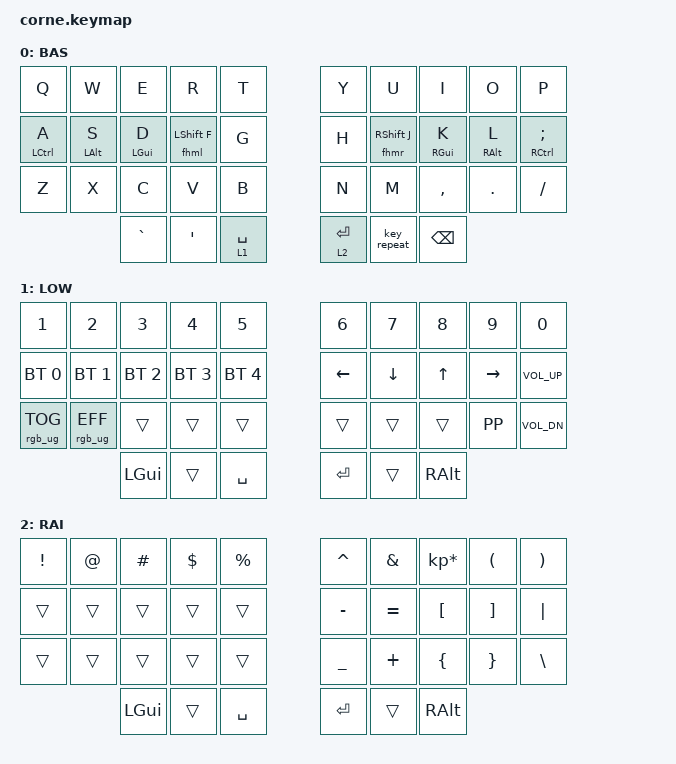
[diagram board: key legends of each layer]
/*
 * Copyright (c) 2020 The ZMK Contributors
 *
 * SPDX-License-Identifier: MIT
 */

#include <behaviors.dtsi>
#include <dt-bindings/zmk/keys.h>
#include <dt-bindings/zmk/bt.h>
#include <dt-bindings/zmk/outputs.h>
#include <dt-bindings/zmk/ext_power.h>
#include <dt-bindings/led/led.h>
#include <dt-bindings/zmk/backlight.h>
#include <dt-bindings/zmk/rgb.h>
#include <dt-bindings/zmk/reset.h>

#include "./corne-behaviors.dtsi"

#define BASE 0
#define LOW  1
#define RAI  2
#define EX_1 3
#define EX_2 4
#define EX_3 4

// (heavily) Parametrised macros for DRY combo definitions.
#define COMBO(NAME, KEY, LAYERS, POSITIONS, REQUIRE_PRIOR_IDLE, TIMEOUT) NAME { \
    bindings = <&kp KEY>; \
    layers = <LAYERS>; \
    key-positions = <POSITIONS>; \
    require-prior-idle-ms = <REQUIRE_PRIOR_IDLE>; \
    timeout-ms = <TIMEOUT>; \
    slow-release; \
}
#define COMBO_DEFAULT(N, K, L, P) COMBO(N, K, L, P, 200, 50)
#define COMBO_FAST(N, K, L, P) COMBO(N, K, L, P, 150, 20)

&led_strip {
    chain-length = <24>;
};

&mt {
		tapping-term-ms = <280>;
};

/ {
	  chosen {
        zmk,physical-layout = &foostan_corne_5col_layout;
        zmk,matrix-transform = &five_column_transform;
    };

		// ┌────┬────┬────┬────┬────┐                 ┌────┬────┬────┬────┬────┐
    // │  0 │  1 │  2 │  3 │  4 │                 │  5 │  6 │  7 │  8 │  9 │
    // ├────┼────┼────┼────┼────┤                 ├────┼────┼────┼────┼────┤
    // │ 10 │ 11 │ 12 │ 13 │ 14 │                 │ 15 │ 16 │ 17 │ 18 │ 19 │
    // ├────┼────┼────┼────┼────┤                 ├────┼────┼────┼────┼────┤
    // │ 20 │ 21 │ 22 │ 23 │ 24 │                 │ 25 │ 26 │ 27 │ 28 │ 29 │
    // └────┴────┴────┼────┼────┼────┐       ┌────┼────┼────┼────┴────┴────┘
    //                │ 30 │ 31 │ 32 │       │ 33 │ 34 │ 35 │
    //                └────┴────┴────┘       └────┴────┴────┘

		combos {
			compatible = "zmk,combos";

			COMBO_FAST(kp_esc, ESC, BASE LOW RAI, 16 17);
			COMBO_FAST(kp_bspc, BSPC, BASE LOW RAI, 17 18);
			COMBO_DEFAULT(kp_caps, CAPS, BASE, 13 16);
			COMBO_FAST(kp_tab, TAB, BASE, 2 3);

			// Parens and brackets
      COMBO_DEFAULT(kp_lpar, LPAR, BASE LOW RAI, 22 23);
      COMBO_DEFAULT(kp_rpar, RPAR, BASE LOW RAI, 26 27);
      COMBO_DEFAULT(kp_lbkt, LBKT, BASE LOW RAI, 23 24);
      COMBO_DEFAULT(kp_rbkt, RBKT, BASE LOW RAI, 25 26);
		};

    keymap {
        compatible = "zmk,keymap";

        default_layer {
            display-name = "BAS";
            // -----------------------------------------------------------------
            // |  Q       |  W    |   E   |  R  |    T    |   |    Y    |    U   |  I  |  O  |  P  
            // |  CTRL/A  | ALT/S |   D   |  F  |    G    |   |    H    |    J   |  K  |  L  |  ;  
            // |  Z       |  X    |   C   |  V  |    B    |   |    N    |    M   |  ,  |  .  |  /  
            //                    | GRAVE | SQT | LWR/SPC |   | RSE/ENT | REPEAT | ALT |

            bindings = <
&kp Q         &kp W        &kp E       &kp R         &kp T         &kp Y      &kp U         &kp I       &kp O       &kp P   
&hml LCTRL A  &hml LALT S  &hml LGUI D &fhml LSHFT F &kp G         &kp H      &fhmr RSHFT J &hmr RGUI K &hmr RALT L &hmr RCTRL SEMI
&kp Z         &kp X        &kp C       &kp V         &kp B         &kp N      &kp M         &kp COMMA   &kp DOT     &kp FSLH
                           &kp GRAVE   &kp SQT       &lt 1 SPACE   &lt 2 RET  &key_repeat   &kp BSPC
            >;
        };

        lower_layer {
            display-name = "LOW";
            // --------------------------------------------------------------------------
            // |    1    |  2  |  3  |  4  |  5  |   |  6  |  7  |  8  |   9   |  0  
            // |   BT1   | BT2 | BT3 | BT4 | BT5 |   | LFT | DWN |  UP |  RGT  | VOL UP    
            // | RGB_TOG | EFF |     |     |     |   |     |     |     | Pl/Pa | VOL DOWN   
            //                 | GUI |     | SPC |   | ENT |     | ALT |

            bindings = <
&kp N1          &kp N2          &kp N3        &kp N4        &kp N5          &kp N6    &kp N7    &kp N8    &kp N9     &kp N0
&bt BT_SEL 0    &bt BT_SEL 1    &bt BT_SEL 2  &bt BT_SEL 3  &bt BT_SEL 4    &kp LEFT  &kp DOWN  &kp UP    &kp RIGHT  &kp K_VOL_UP
&rgb_ug RGB_TOG &rgb_ug RGB_EFF &trans        &trans        &trans          &trans    &trans    &trans    &kp K_PP   &kp K_VOL_DN
                                &kp LGUI      &trans        &kp SPACE       &kp RET   &trans    &kp RALT
            >;
        };

        raise_layer {
            display-name = "RAI";
            // ----------------------------------------------------------------
            // |  !  |  @  |  #  |  $  |  %  |   |  ^  |  &  |  *  |  (  |  )  
            // |     |     |     |     |     |   |  -  |  =  |  [  |  ]  |  \  
            // |     |     |     |     |     |   |  _  |  +  |  {  |  }  | "|" 
            //             | GUI |     | SPC |   | ENT |     | ALT |

            bindings = <
&kp EXCL  &kp AT  &kp HASH   &kp DLLR        &kp PRCNT    &kp CARET  &kp AMPS        &kp KP_MULTIPLY  &kp LPAR  &kp RPAR
&trans    &trans  &trans     &trans          &trans       &kp MINUS  &kp EQUAL       &kp LBKT         &kp RBKT  &kp PIPE 
&trans    &trans  &trans     &trans          &trans       &kp UNDER  &kp PLUS        &kp LBRC         &kp RBRC  &kp BSLH
                  &kp LGUI   &trans          &kp SPACE    &kp RET    &trans          &kp RALT
            >;
        };
        extra_1 {
            status = "reserved";
        };

        extra_2 {
            status = "reserved";
        };

        extra_3 {
            status = "reserved";
        };
    };
};
